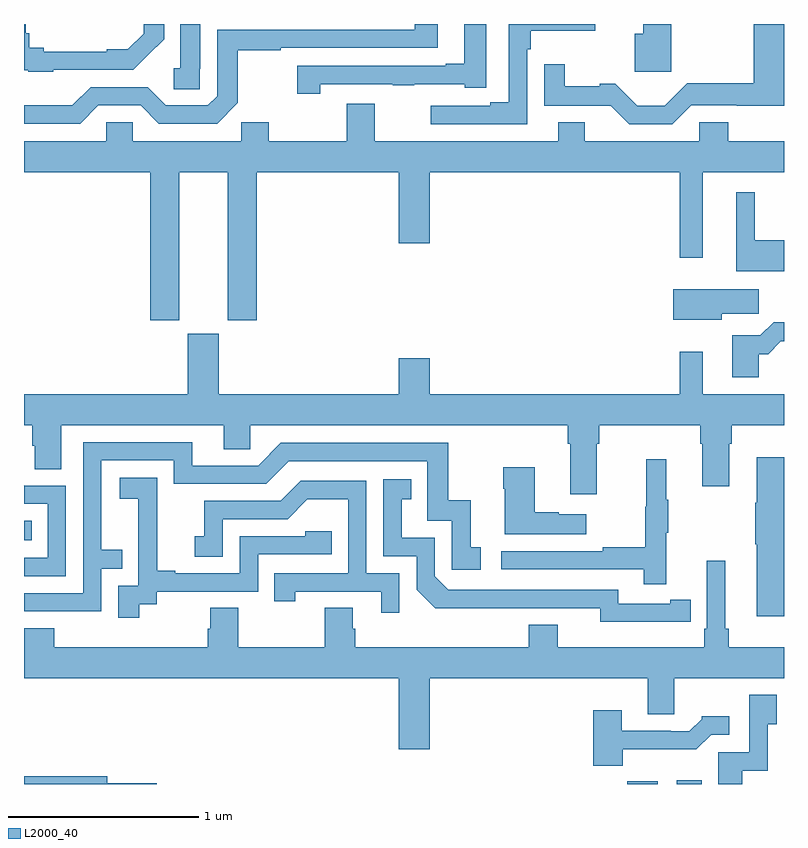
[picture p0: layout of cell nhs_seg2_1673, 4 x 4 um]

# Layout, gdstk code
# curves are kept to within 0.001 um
import gdstk
lib = gdstk.Library(unit=1e-6, precision=1e-09)
def R(c, l, rs):  # rectangles x0, y0, x1, y1
    for r in rs: c.add(gdstk.rectangle(r[:2], r[2:], *l))
def P(c, l, *ps):  # polygons
    for p in ps: c.add(gdstk.Polygon(p, *l))
L2000_40 = (2000, 40)

nhs_seg2_1673 = lib.new_cell('nhs_seg2_1673')
R(nhs_seg2_1673, L2000_40, [(202.174,593.8,202.336,593.815), (202.436,593.8,202.567,593.821), (199,595.082,199.04,595.186)])
P(nhs_seg2_1673, L2000_40, [(199.926,597.565),(199.927,597.565),(199.927,597.8),(199.823,597.8),(199.823,597.568),(199.788,597.568),(199.788,597.457),(199.926,597.457)],
  [(202.512,597.372),(203,597.371),(203,597.8),(202.84,597.8),(202.84,597.488),(202.49,597.488),(202.372,597.37),(202.227,597.37),(202.112,597.485),(202.031,597.485),(202.031,597.473),(201.847,597.473),(201.847,597.589),(201.738,597.589),(201.738,597.371),(202.088,597.371),(202.185,597.273),(202.413,597.273)],
  [(199.155,597.558),(199.576,597.558),(199.655,597.637),(199.654,597.638),(199.738,597.721),(199.738,597.8),(199.629,597.8),(199.629,597.749),(199.545,597.666),(199.436,597.666),(199.436,597.655),(199.105,597.655),(199.105,597.674),(199.027,597.674),(199.027,597.751),(199.009,597.751),(199.009,597.8),(199,597.8),(199,597.557),(199.023,597.557),(199.023,597.548),(199.155,597.548)],
  [(202.407,597.8),(202.259,597.8),(202.259,597.749),(202.214,597.749),(202.214,597.548),(202.407,597.548)],
  [(199.392,597.372),(199.614,597.372),(199.71,597.276),(200.016,597.276),(200.125,597.385),(200.125,597.663),(200.351,597.663),(200.351,597.675),(201.178,597.675),(201.178,597.8),(201.057,597.8),(201.057,597.771),(200.016,597.771),(200.016,597.42),(199.968,597.372),(199.746,597.372),(199.65,597.468),(199.35,597.468),(199.255,597.373),(199,597.373),(199,597.276),(199.296,597.276)],
  [(200.559,597.483),(200.941,597.483),(200.941,597.478),(201.053,597.478),(201.053,597.483),(201.321,597.483),(201.321,597.465),(201.433,597.465),(201.433,597.8),(201.317,597.8),(201.317,597.592),(201.221,597.592),(201.221,597.579),(200.439,597.579),(200.439,597.432),(200.559,597.432)],
  [(201.648,597.668),(201.668,597.668),(201.668,597.764),(202.006,597.764),(202.006,597.8),(201.552,597.8),(201.552,597.387),(201.455,597.387),(201.455,597.369),(201.141,597.369),(201.141,597.273),(201.648,597.273)],
  [(200.972,596.646),(201.136,596.646),(201.136,597.02),(202.452,597.02),(202.452,596.571),(202.573,596.571),(202.573,597.02),(203,597.02),(203,597.184),(202.706,597.184),(202.706,597.282),(202.554,597.282),(202.554,597.184),(201.952,597.184),(201.952,597.283),(201.812,597.283),(201.812,597.184),(200.845,597.184),(200.845,597.379),(200.698,597.379),(200.698,597.184),(200.289,597.184),(200.289,597.282),(200.143,597.282),(200.143,597.184),(199.572,597.184),(199.572,597.282),(199.434,597.282),(199.434,597.184),(199,597.184),(199,597.02),(199.664,597.02),(199.664,596.241),(199.816,596.241),(199.816,597.02),(200.072,597.02),(200.072,596.241),(200.225,596.241),(200.225,597.02),(200.972,597.02)],
  [(203,596.662),(202.846,596.662),(202.846,596.914),(202.748,596.914),(202.748,596.498),(203,596.498)],
  [(202.672,596.275),(202.867,596.275),(202.867,596.404),(202.418,596.404),(202.418,596.243),(202.672,596.243)],
  [(202.867,596.063),(202.916,596.063),(202.983,596.13),(203,596.13),(203,596.231),(202.946,596.231),(202.876,596.161),(202.727,596.161),(202.727,595.941),(202.867,595.941)],
  [(199.862,596.169),(199.862,595.852),(199,595.852),(199,595.688),(199.043,595.688),(199.043,595.579),(199.056,595.579),(199.056,595.456),(199.195,595.456),(199.195,595.688),(200.051,595.688),(200.051,595.561),(200.19,595.561),(200.19,595.688),(201.863,595.688),(201.863,595.592),(201.875,595.592),(201.875,595.326),(202.015,595.326),(202.015,595.592),(202.028,595.592),(202.028,595.688),(202.559,595.688),(202.559,595.592),(202.571,595.592),(202.571,595.368),(202.711,595.368),(202.711,595.592),(202.724,595.592),(202.724,595.688),(203,595.688),(203,595.852),(202.573,595.852),(202.573,596.074),(202.452,596.074),(202.452,595.852),(201.136,595.852),(201.136,596.041),(200.972,596.041),(200.972,595.852),(200.026,595.852),(200.026,596.169)],
  [(199.407,594.933),(199.517,594.933),(199.517,595.034),(199.407,595.034),(199.407,595.503),(199.788,595.503),(199.788,595.38),(200.274,595.38),(200.394,595.5),(201.123,595.5),(201.123,595.185),(201.252,595.185),(201.252,594.927),(201.403,594.927),(201.403,595.047),(201.35,595.047),(201.35,595.294),(201.232,595.294),(201.232,595.596),(200.352,595.596),(200.232,595.476),(199.885,595.476),(199.885,595.599),(199.311,595.599),(199.311,594.804),(199,594.804),(199,594.708),(199.407,594.708)],
  [(203,595.519),(202.856,595.519),(202.856,595.28),(202.849,595.28),(202.849,595.063),(202.856,595.063),(202.856,594.684),(203,594.684)],
  [(202.379,595.123),(202.39,595.123),(202.39,595.297),(202.379,595.297),(202.379,595.51),(202.276,595.51),(202.276,595.26),(202.269,595.26),(202.269,595.046),(202.045,595.046),(202.045,595.026),(201.513,595.026),(201.513,594.93),(202.261,594.93),(202.261,594.852),(202.379,594.852)],
  [(201.958,595.219),(201.815,595.219),(201.815,595.229),(201.688,595.229),(201.688,595.468),(201.523,595.468),(201.523,595.355),(201.53,595.355),(201.53,595.115),(201.958,595.115)],
  [(199.606,594.745),(199.698,594.745),(199.698,594.813),(200.232,594.813),(200.232,595.008),(200.621,595.008),(200.621,595.131),(200.481,595.131),(200.481,595.104),(200.136,595.104),(200.136,594.909),(199.795,594.909),(199.795,594.922),(199.7,594.922),(199.7,595.205),(199.701,595.205),(199.701,595.411),(199.503,595.411),(199.503,595.301),(199.601,595.301),(199.601,595.073),(199.602,595.073),(199.602,594.843),(199.497,594.843),(199.497,594.675),(199.606,594.675)],
  [(202.4,594.654),(202.508,594.654),(202.508,594.77),(202.4,594.77),(202.4,594.75),(202.128,594.75),(202.128,594.822),(201.234,594.822),(201.162,594.894),(201.162,595.095),(200.989,595.095),(200.989,595.299),(201.038,595.299),(201.038,595.405),(200.892,595.405),(200.892,594.999),(201.066,594.999),(201.066,594.822),(201.164,594.725),(202.032,594.726),(202.032,594.653)],
  [(200.976,594.909),(200.802,594.909),(200.802,595.395),(200.456,595.395),(200.351,595.29),(199.948,595.29),(199.948,595.105),(199.899,595.105),(199.899,594.996),(200.046,594.996),(200.046,595.194),(200.388,595.194),(200.492,595.298),(200.706,595.298),(200.706,594.909),(200.317,594.909),(200.317,594.762),(200.428,594.762),(200.428,594.813),(200.879,594.813),(200.879,594.702),(200.976,594.702)],
  [(199.221,595.371),(199.002,595.371),(199,595.373),(199,595.275),(199.125,595.275),(199.125,594.99),(199,594.99),(199,594.894),(199.221,594.894)],
  [(199.979,594.728),(199.979,594.618),(199.967,594.618),(199.967,594.52),(199.16,594.52),(199.16,594.619),(199,594.619),(199,594.356),(200.972,594.356),(200.972,593.982),(201.136,593.982),(201.136,594.356),(202.283,594.356),(202.283,594.166),(202.423,594.166),(202.423,594.356),(203,594.356),(203,594.52),(202.709,594.52),(202.709,594.616),(202.69,594.616),(202.69,594.976),(202.593,594.976),(202.593,594.616),(202.58,594.616),(202.58,594.52),(201.808,594.52),(201.808,594.637),(201.656,594.637),(201.656,594.52),(200.744,594.52),(200.744,594.618),(200.731,594.618),(200.731,594.728),(200.584,594.728),(200.584,594.52),(200.127,594.52),(200.127,594.728)],
  [(202.78,593.87),(202.914,593.87),(202.914,594.115),(202.962,594.115),(202.962,594.271),(202.818,594.271),(202.818,593.967),(202.655,593.967),(202.655,593.8),(202.78,593.8)],
  [(202.15,593.982),(202.539,593.982),(202.617,594.06),(202.711,594.06),(202.711,594.157),(202.566,594.157),(202.566,594.142),(202.502,594.078),(202.403,594.078),(202.403,594.081),(202.147,594.081),(202.147,594.187),(201.995,594.187),(201.995,593.897),(202.15,593.897)],
  [(199.699,593.804),(199.438,593.804),(199.438,593.84),(199,593.84),(199,593.8),(199.699,593.8)])

lib.write_gds('nhs_seg2_1673.gds')
